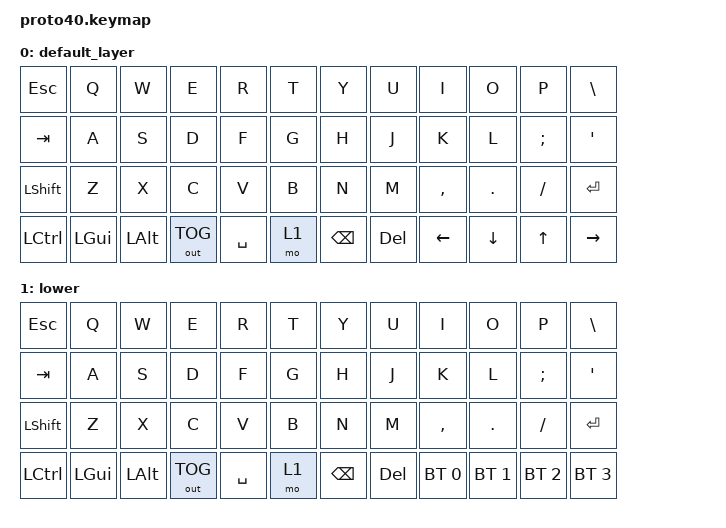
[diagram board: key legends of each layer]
#include <behaviors.dtsi>
#include <dt-bindings/zmk/keys.h>
#include <dt-bindings/zmk/bt.h>
#include <dt-bindings/zmk/outputs.h>


/ {
    keymap {
        compatible = "zmk,keymap";

        default_layer {
            bindings = <
                &kp ESC    &kp Q    &kp W     &kp E    &kp R     &kp T    &kp Y     &kp U    &kp I     &kp O    &kp P     &kp BSLH
                &kp TAB    &kp A    &kp S     &kp D    &kp F     &kp G    &kp H     &kp J    &kp K     &kp L    &kp SEMI  &kp SQT
                &kp LSHIFT &kp Z    &kp X     &kp C    &kp V     &kp B    &kp N     &kp M    &kp COMMA &kp DOT  &kp FSLH  &kp RET
                &kp LCTRL  &kp LGUI &kp LALT  &out OUT_TOG    &kp SPACE &mo 1    &kp BSPC  &kp DEL  &kp LEFT  &kp DOWN &kp UP    &kp RIGHT
            >;
        };

        lower {
            // ----------------------------------------------------------------------------------------------------------
            // |  ESC  |  F2  |  F3  |  F4  |  F5  |  F6  |-------|-------|   F7  |  F8   |  F9  | F10  |  F11  |  F12  |
            // |   ~   |  !   |  @   |  #   |  $   |  %   |-------|-------|   ^   |   &   |  *   |  (   |   )   |  DEL  |
            // |       |  F1  |  F2  |  F3  |  F4  |  F5  |-------|-------|   F6  |   _   |  +   |  {   |   }   |   |   |
            // |       |  F7  |  F8  |  F9  |  F10 |  F11 |-------|-------|   F12 | LS(#) |LS(|) |      |       |       |
            // |-------|      |      |      |      |      |       |       |       | NEXT  | Vol- | Vol+ | PLAY  |-------|
            bindings = <
                &kp ESC    &kp Q    &kp W     &kp E    &kp R     &kp T    &kp Y     &kp U    &kp I     &kp O    &kp P     &kp BSLH
                &kp TAB    &kp A    &kp S     &kp D    &kp F     &kp G    &kp H     &kp J    &kp K     &kp L    &kp SEMI  &kp SQT
                &kp LSHIFT &kp Z    &kp X     &kp C    &kp V     &kp B    &kp N     &kp M    &kp COMMA &kp DOT  &kp FSLH  &kp RET
                &kp LCTRL  &kp LGUI &kp LALT  &out OUT_TOG    &kp SPACE &mo 1    &kp BSPC  &kp DEL  &bt BT_SEL 0 &bt BT_SEL 1 &bt BT_SEL 2 &bt BT_SEL 3
            >;
        };
    };
};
